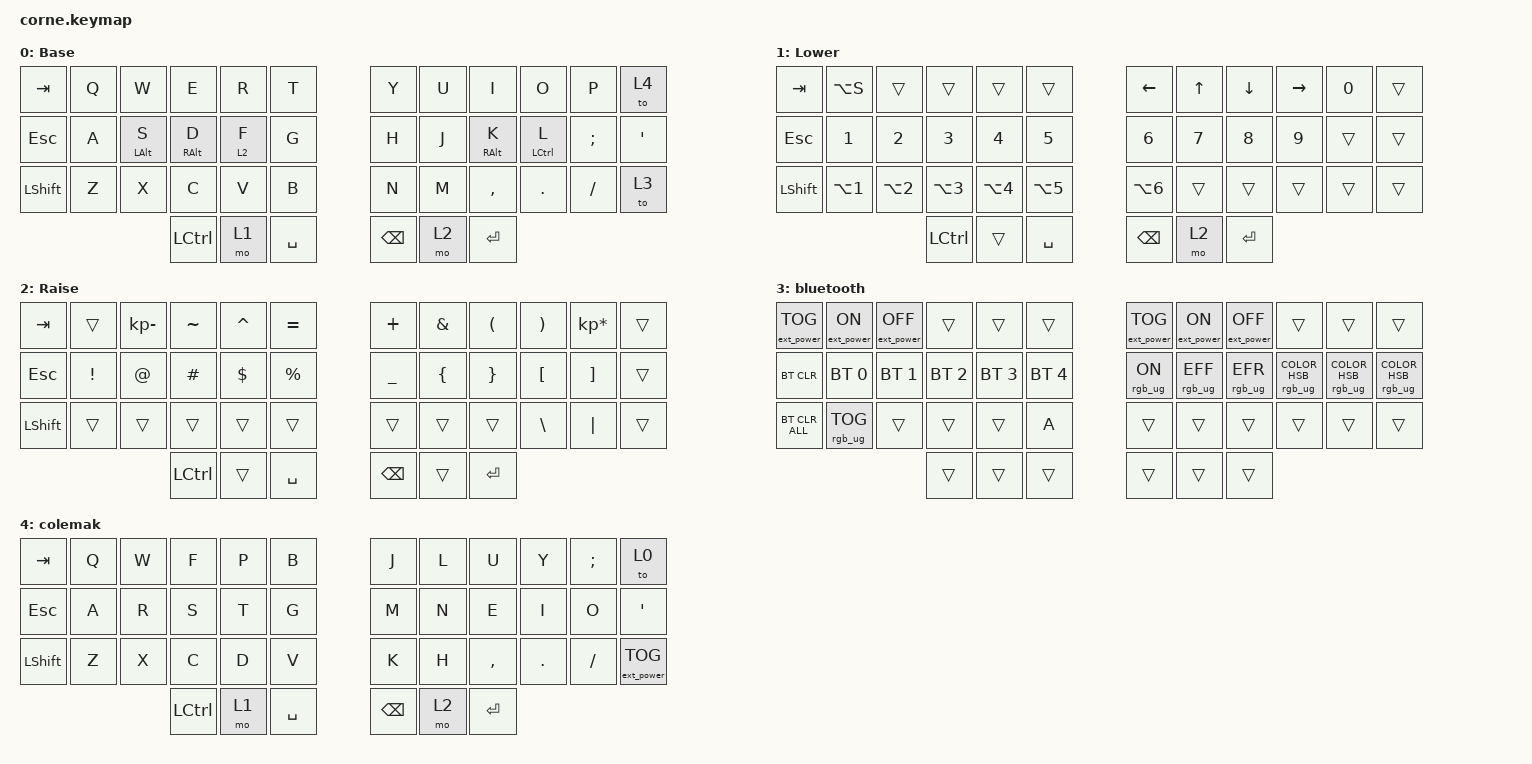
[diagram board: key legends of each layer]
/*
 * Copyright (c) 2020 The ZMK Contributors
 *a
 * SPDX-License-Identifier: MIT
 */

#include <behaviors.dtsi>
#include <dt-bindings/zmk/bt.h>
#include <dt-bindings/zmk/ext_power.h>
#include <dt-bindings/zmk/keys.h>
#include <dt-bindings/zmk/rgb.h>

/ {
    behaviors {
        betterholdandtap: betterholdandtap {
            compatible = "zmk,behavior-hold-tap";
            label = "BETTERHOLDANDTAP";
            bindings = <&kp>, <&kp>;

            #binding-cells = <2>;
            tapping-term-ms = <200>;
            flavor = "tap-preferred";
            quick-tap-ms = <(-1)>;
            require-prior-idle-ms = <100>;
        };

        tap_dance: tap_dance {
            compatible = "zmk,behavior-tap-dance";
            label = "TAP_DANCE";
            #binding-cells = <0>;
            bindings = <&to 1>, <&to 0>;

            tapping-term-ms = <200>;
        };

        holdLayerTapletter: holdLayerTapletter {
            compatible = "zmk,behavior-hold-tap";
            label = "HOLDLAYERTAPLETTER";
            bindings = <&mo>, <&kp>;

            #binding-cells = <2>;
            tapping-term-ms = <200>;
            require-prior-idle-ms = <100>;
            flavor = "tap-preferred";
        };
    };

    keymap {
        compatible = "zmk,keymap";

        default_layer {
            // -----------------------------------------------------------------------------------------
            // |  TAB |  Q  |  W  |  E  |  R  |  T  |   |  Y  |  U   |  I  |  O  |  P  | BKSP |
            // | CTRL |  A  |  S  |  D  |  F  |  G  |   |  H  |  J   |  K  |  L  |  ;  |  '   |
            // | SHFT |  Z  |  X  |  C  |  V  |  B  |   |  N  |  M   |  ,  |  .  |  /  | ESC  |
            //                    | GUI | LWR | SPC |   | ENT | RSE  | ALT |

            display-name = "Base";
            bindings = <
&kp TAB    &kp Q  &kp W                     &kp E                          &kp R                    &kp T        &kp Y          &kp U  &kp I                          &kp O                      &kp P     &to 4
&kp ESC    &kp A  &betterholdandtap LALT S  &betterholdandtap RIGHT_ALT D  &holdLayerTapletter 2 F  &kp G        &kp H          &kp J  &betterholdandtap RIGHT_ALT K  &betterholdandtap LCTRL L  &kp SEMI  &kp APOSTROPHE
&kp LSHFT  &kp Z  &kp X                     &kp C                          &kp V                    &kp B        &kp N          &kp M  &kp COMMA                      &kp DOT                    &kp FSLH  &to 3
                                            &kp LCTRL                      &mo 1                    &kp SPACE    &kp BACKSPACE  &mo 2  &kp ENTER
            >;
        };

        lower_layer {
            // -----------------------------------------------------------------------------------------
            // |  TAB |  1  |  2  |  3  |  4  |  5  |   |  6  |  7  |  8  |  9  |  0  | BKSP |
            // | BTCLR| BT1 | BT2 | BT3 | BT4 | BT5 |   | LFT | DWN |  UP | RGT |     |      |
            // | SHFT |     |     |     |     |     |   |     |     |     |     |     |      |
            //                    | GUI |     | SPC |   | ENT |     | ALT |

            display-name = "Lower";
            bindings = <
&kp TAB    &kp LA(S)         &trans            &trans            &trans            &trans              &kp LEFT_ARROW    &kp UP_ARROW  &kp DOWN_ARROW  &kp RIGHT_ARROW  &kp NUMBER_0  &trans
&kp ESC    &kp NUMBER_1      &kp NUMBER_2      &kp NUMBER_3      &kp NUMBER_4      &kp NUMBER_5        &kp NUMBER_6      &kp NUMBER_7  &kp NUMBER_8    &kp NUMBER_9     &trans        &trans
&kp LSHFT  &kp LA(NUMBER_1)  &kp LA(NUMBER_2)  &kp LA(NUMBER_3)  &kp LA(NUMBER_4)  &kp LA(NUMBER_5)    &kp LA(NUMBER_6)  &trans        &trans          &trans           &trans        &trans
                                               &kp LCTRL         &trans            &kp SPACE           &kp BACKSPACE     &mo 2         &kp ENTER
            >;
        };

        raise_layer {
            // -----------------------------------------------------------------------------------------
            // |  TAB |  !  |  @  |  #  |  $  |  %  |   |  ^  |  &  |  *  |  (  |  )  | BKSP |
            // | CTRL |     |     |     |     |     |   |  -  |  =  |  [  |  ]  |  \  |  `   |
            // | SHFT |     |     |     |     |     |   |  _  |  +  |  {  |  }  | "|" |  ~   |
            //                    | GUI |     | SPC |   | ENT |     | ALT |

            display-name = "Raise";
            bindings = <
&kp TAB     &trans           &kp KP_SUBTRACT  &kp TILDE  &kp CARET   &kp EQUAL      &kp PLUS        &kp AMPS        &kp LEFT_PARENTHESIS  &kp RIGHT_PARENTHESIS  &kp KP_MULTIPLY    &trans
&kp ESCAPE  &kp EXCLAMATION  &kp AT_SIGN      &kp HASH   &kp DOLLAR  &kp PERCENT    &kp UNDERSCORE  &kp LEFT_BRACE  &kp RIGHT_BRACE       &kp LEFT_BRACKET       &kp RIGHT_BRACKET  &trans
&kp LSHFT   &trans           &trans           &trans     &trans      &trans         &trans          &trans          &trans                &kp BACKSLASH          &kp PIPE           &trans
                                              &kp LCTRL  &trans      &kp SPACE      &kp BACKSPACE   &trans          &kp ENTER
            >;
        };

        layer_3 {
            display-name = "bluetooth";
            bindings = <
&ext_power EP_TOG  &ext_power EP_ON  &ext_power EP_OFF  &trans        &trans        &trans          &ext_power EP_TOG  &ext_power EP_ON  &ext_power EP_OFF  &trans                             &trans                          &trans
&bt BT_CLR         &bt BT_SEL 0      &bt BT_SEL 1       &bt BT_SEL 2  &bt BT_SEL 3  &bt BT_SEL 4    &rgb_ug RGB_ON     &rgb_ug RGB_EFF   &rgb_ug RGB_EFR    &rgb_ug RGB_COLOR_HSB(253,100,48)  &rgb_ug RGB_COLOR_HSB(0,91,50)  &rgb_ug RGB_COLOR_HSB(183,71,53)
&bt BT_CLR_ALL     &rgb_ug RGB_TOG   &trans             &trans        &trans        &kp A           &trans             &trans            &trans             &trans                             &trans                          &trans
                                                        &trans        &trans        &trans          &trans             &trans            &trans
            >;
        };

        layer_4 {
            display-name = "colemak";
            bindings = <
&kp TAB         &kp Q  &kp W  &kp F      &kp P  &kp B        &kp J     &kp L  &kp U      &kp Y    &kp SEMI  &to 0
&kp ESCAPE      &kp A  &kp R  &kp S      &kp T  &kp G        &kp M     &kp N  &kp E      &kp I    &kp O     &kp APOS
&kp LEFT_SHIFT  &kp Z  &kp X  &kp C      &kp D  &kp V        &kp K     &kp H  &kp COMMA  &kp DOT  &kp FSLH  &ext_power EP_TOG
                              &kp LCTRL  &mo 1  &kp SPACE    &kp BSPC  &mo 2  &kp ENTER
            >;
        };
    };

    conditional_layers { compatible = "zmk,conditional-layers"; };
};
